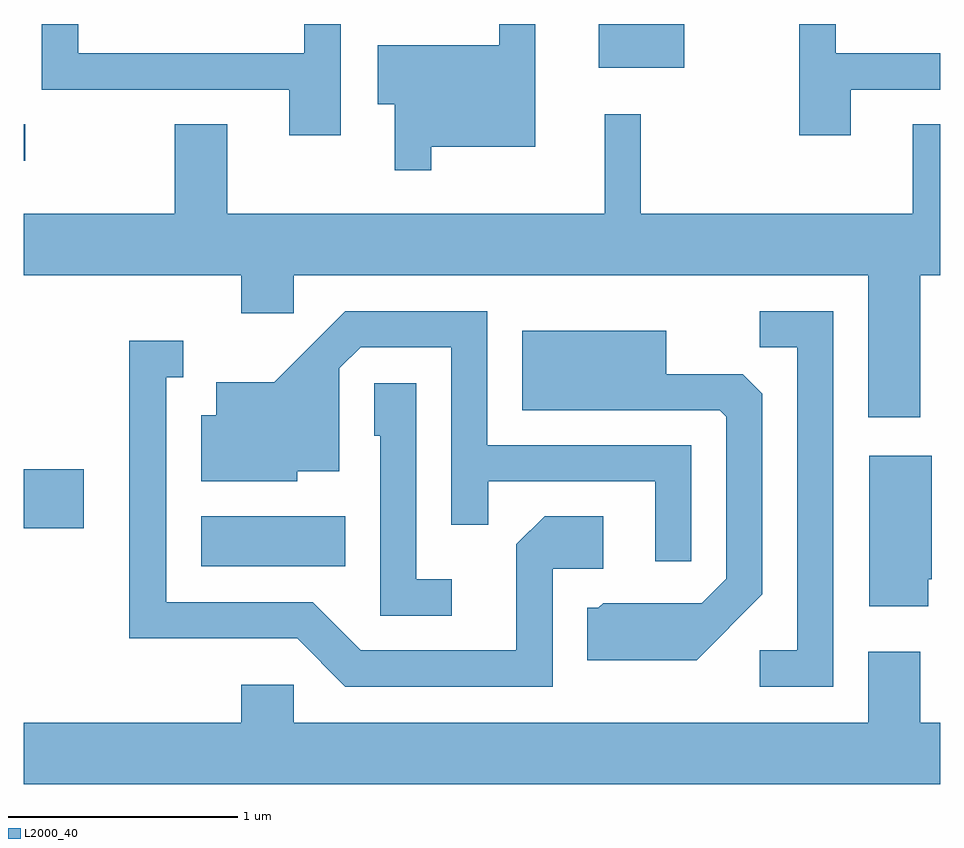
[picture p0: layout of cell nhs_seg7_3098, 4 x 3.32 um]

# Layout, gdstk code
import gdstk
lib = gdstk.Library(unit=1e-6, precision=1e-09)
def R(c, l, rs):  # rectangles x0, y0, x1, y1
    for r in rs: c.add(gdstk.rectangle(r[:2], r[2:], *l))
def P(c, l, *ps):  # polygons
    for p in ps: c.add(gdstk.Polygon(p, *l))
L2000_40 = (2000, 40)

nhs_seg7_3098 = lib.new_cell('nhs_seg7_3098')
R(nhs_seg7_3098, L2000_40, [(280.386,1761.886,281.014,1762.104), (279.611,1762.051,279.874,1762.309), (279.611,1763.656,279.618,1763.814), (282.121,1764.061,282.494,1764.252)])
P(nhs_seg7_3098, L2000_40, [(280.994,1764.252),(280.836,1764.252),(280.836,1764.124),(279.849,1764.124),(279.849,1764.252),(279.691,1764.252),(279.691,1763.966),(280.771,1763.966),(280.771,1763.766),(280.994,1763.766)],
  [(283.219,1763.966),(283.611,1763.966),(283.611,1764.124),(283.154,1764.124),(283.154,1764.252),(282.996,1764.252),(282.996,1763.766),(283.219,1763.766)],
  [(281.389,1763.716),(281.844,1763.716),(281.844,1764.252),(281.686,1764.252),(281.686,1764.159),(281.156,1764.159),(281.156,1763.901),(281.231,1763.901),(281.231,1763.613),(281.389,1763.613)],
  [(283.524,1763.156),(283.611,1763.156),(283.611,1763.814),(283.491,1763.814),(283.491,1763.424),(282.304,1763.424),(282.304,1763.858),(282.146,1763.858),(282.146,1763.424),(280.499,1763.424),(280.499,1763.814),(280.271,1763.814),(280.271,1763.424),(279.611,1763.424),(279.611,1763.156),(280.561,1763.156),(280.561,1762.991),(280.789,1762.991),(280.789,1763.156),(283.296,1763.156),(283.296,1762.536),(283.524,1762.536)],
  [(283.144,1762.999),(282.823,1762.999),(282.823,1762.841),(282.986,1762.841),(282.986,1761.519),(282.823,1761.519),(282.823,1761.361),(283.144,1761.361)],
  [(282.524,1762.414),(281.634,1762.414),(281.634,1762.999),(281.014,1762.999),(280.704,1762.689),(280.451,1762.689),(280.451,1762.544),(280.386,1762.544),(280.386,1762.256),(280.804,1762.256),(280.804,1762.301),(280.989,1762.301),(280.989,1762.749),(281.082,1762.841),(281.476,1762.841),(281.476,1762.068),(281.639,1762.068),(281.639,1762.256),(282.366,1762.256),(282.366,1761.908),(282.524,1761.908)],
  [(282.834,1761.764),(282.834,1762.639),(282.749,1762.724),(282.414,1762.724),(282.414,1762.914),(281.786,1762.914),(281.786,1762.566),(282.649,1762.566),(282.676,1762.539),(282.676,1761.832),(282.569,1761.724),(282.139,1761.724),(282.119,1761.704),(282.071,1761.704),(282.071,1761.476),(282.547,1761.476)],
  [(281.919,1761.876),(282.139,1761.876),(282.139,1762.104),(281.884,1762.104),(281.761,1761.982),(281.761,1761.519),(281.082,1761.519),(280.872,1761.729),(280.234,1761.729),(280.234,1762.711),(280.308,1762.711),(280.308,1762.869),(280.071,1762.869),(280.071,1761.571),(280.804,1761.571),(281.014,1761.361),(281.919,1761.361)],
  [(281.478,1761.829),(281.324,1761.829),(281.324,1762.684),(281.141,1762.684),(281.141,1762.456),(281.166,1762.456),(281.166,1761.671),(281.478,1761.671)],
  [(283.559,1761.83),(283.574,1761.83),(283.574,1762.369),(283.301,1762.369),(283.301,1761.711),(283.559,1761.711)],
  [(283.611,1761.204),(283.524,1761.204),(283.524,1761.514),(283.296,1761.514),(283.296,1761.204),(280.789,1761.204),(280.789,1761.369),(280.561,1761.369),(280.561,1761.204),(279.611,1761.204),(279.611,1760.936),(283.611,1760.936)])

lib.write_gds('nhs_seg7_3098.gds')
